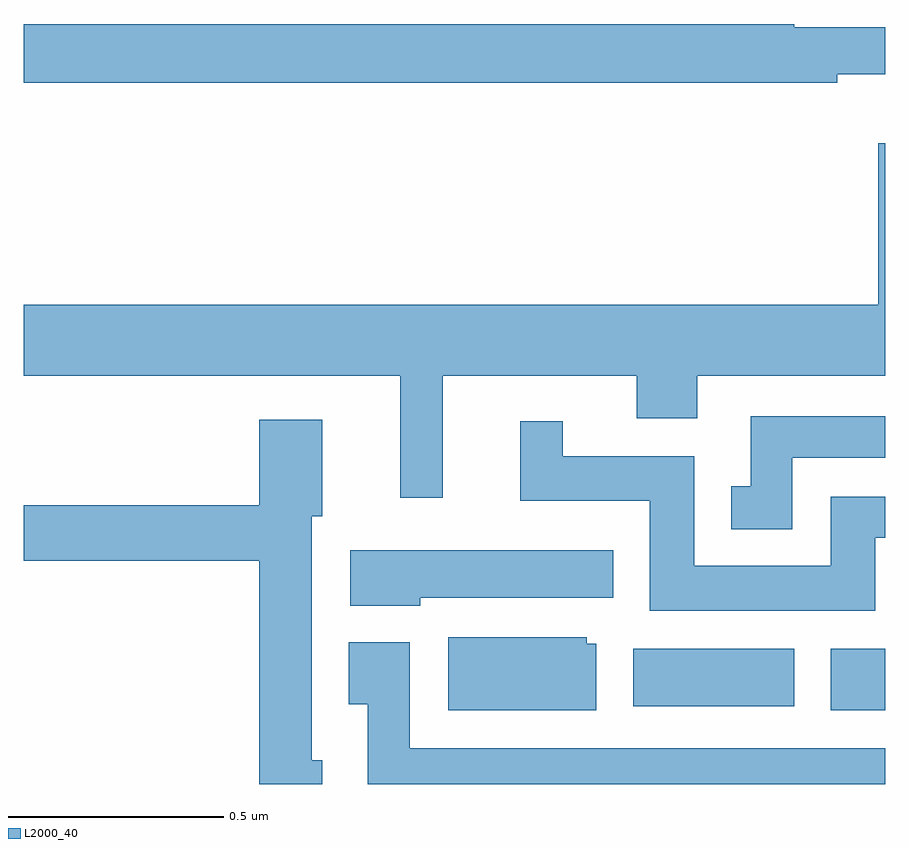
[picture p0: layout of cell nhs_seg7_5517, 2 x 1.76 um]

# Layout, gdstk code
import gdstk
lib = gdstk.Library(unit=1e-6, precision=1e-09)
def R(c, l, rs):  # rectangles x0, y0, x1, y1
    for r in rs: c.add(gdstk.rectangle(r[:2], r[2:], *l))
def P(c, l, *ps):  # polygons
    for p in ps: c.add(gdstk.Polygon(p, *l))
L2000_40 = (2000, 40)

nhs_seg7_5517 = lib.new_cell('nhs_seg7_5517')
R(nhs_seg7_5517, L2000_40, [(188.873,1001.171,189,1001.314), (188.415,1001.18,188.788,1001.314)])
P(nhs_seg7_5517, L2000_40, [(188.888,1002.647),(189,1002.647),(189,1002.757),(188.788,1002.757),(188.788,1002.764),(187,1002.764),(187,1002.628),(188.888,1002.628)],
  [(187.973,1001.948),(188.423,1001.948),(188.423,1001.849),(188.563,1001.849),(188.563,1001.948),(189,1001.948),(189,1002.487),(188.984,1002.487),(188.984,1002.112),(187,1002.112),(187,1001.948),(187.874,1001.948),(187.874,1001.664),(187.973,1001.664)],
  [(188.784,1001.757),(189,1001.757),(189,1001.853),(188.688,1001.853),(188.688,1001.691),(188.642,1001.691),(188.642,1001.591),(188.784,1001.591)],
  [(187.693,1001.055),(187.669,1001.055),(187.669,1001.622),(187.693,1001.622),(187.693,1001.845),(187.547,1001.845),(187.547,1001.647),(187,1001.647),(187,1001.518),(187.547,1001.518),(187.547,1001),(187.693,1001)],
  [(188.977,1001.571),(189,1001.571),(189,1001.667),(188.873,1001.667),(188.873,1001.506),(188.557,1001.506),(188.557,1001.761),(188.251,1001.761),(188.251,1001.842),(188.153,1001.842),(188.153,1001.657),(188.453,1001.657),(188.453,1001.402),(188.977,1001.402)],
  [(187.92,1001.432),(188.368,1001.432),(188.368,1001.542),(187.758,1001.542),(187.758,1001.414),(187.92,1001.414)],
  [(188.329,1001.325),(188.307,1001.325),(188.307,1001.341),(187.985,1001.341),(187.985,1001.171),(188.329,1001.171)],
  [(189,1001.083),(187.896,1001.083),(187.896,1001.329),(187.754,1001.329),(187.754,1001.185),(187.799,1001.185),(187.799,1001),(189,1001)])

lib.write_gds('nhs_seg7_5517.gds')
